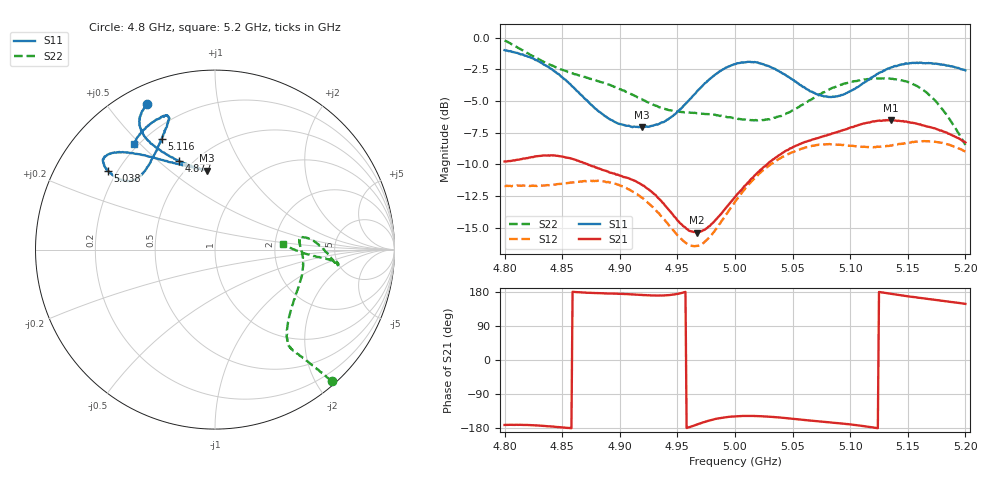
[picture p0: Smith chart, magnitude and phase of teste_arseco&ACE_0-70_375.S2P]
! Network Analyzer HP8722D
! Hewlett-Packard
! Data name: Linha & Wilkinson
! Saver's name: Rodrigo Anjos
! Comments: Teste da utilização de aquisição
! continua pelo VNA HP8722D
! Time and date: 8/5/2025 15:53
!  Frequency  S11  S21  S12  S22
# HZ  S  MA R 50
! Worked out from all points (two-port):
!   401 points, 4.8 GHz to 5.2 GHz, reference 50 ohm
!   highest |S21| = -6.49 dB at 5.135 GHz (marker M1); lowest = -15.4 dB at 4.967 GHz (marker M2)
!   |S21| within 3 dB of the highest: 4.82 GHz to 4.856 GHz (35.04 MHz wide, 0.724 % of centre); 5.035 GHz to end of sweep
!   lowest |S11| = -7.1 dB at 4.919 GHz (marker M3), VSWR 2.59, Z = 31.2 + j34.2 ohm
!   |S11| at or under -10 dB: nowhere
!   |S22| runs from -8.5 to -0.2 dB; largest |S21 - S12| = 0.84
!   S11 on the Smith chart (normalised r, x): 4.8 GHz: 0.08, +0.63; 4.877 GHz: 0.42, +0.58; 5.038 GHz: 0.17, +0.32; 5.116 GHz: 0.26, +0.60; 5.2 GHz: 0.18, +0.48
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4.8e9  0.8937 115.2  0.3248 -171.4  0.2597 -86.6  0.9764 -48.3
4.832e9  0.7974 121.5  0.3421 -173.4  0.2606 -78.3  0.8121 -50.3
4.846e9  0.7216 121.7  0.3419 -176.9  0.2643 -73.8  0.7605 -51.2
4.867e9  0.5919 116.7  0.323 178.2  0.2703 -68.6  0.7062 -52.3
4.877e9  0.5345 112.3  0.3105 177.0  0.2723 -67.7  0.684 -52.6
4.9e9  0.4566 100.0  0.2855 174.7  0.2611 -68.2  0.627 -50.5
4.919e9  0.443 95.9  0.2628 171.8  0.2337 -70.4  0.5729 -44.4
4.934e9  0.4572 100.7  0.2313 170.1  0.2027 -70.5  0.5323 -36.4
4.955e9  0.5363 115.7  0.1803 178.0  0.1577 -60.6  0.5091 -22.6
4.967e9  0.6145 123.5  0.1701 -170.1  0.1506 -47.3  0.5037 -15.5
4.98e9  0.6991 130.1  0.1844 -157.8  0.1673 -33.2  0.4981 -9.0
5e9  0.7876 137.0  0.2346 -148.8  0.2252 -22.0  0.4811 -0.5
5.019e9  0.7986 141.3  0.2916 -148.0  0.2839 -19.7  0.4715 5.6
5.038e9  0.7382 143.7  0.3435 -151.4  0.3321 -20.2  0.4896 8.1
5.067e9  0.6116 141.3  0.3963 -160.2  0.3744 -22.6  0.5733 3.1
5.088e9  0.5867 132.0  0.4235 -166.1  0.3783 -25.7  0.6414 -3.6
5.116e9  0.6828 115.7  0.4628 -176.5  0.3701 -28.8  0.6866 -7.2
5.134e9  0.7567 110.0  0.472 175.3  0.3742 -30.7  0.6901 -6.5
5.135e9  0.7628 110.0  0.4737 175.0  0.3754 -30.8  0.69 -6.4
5.16e9  0.7979 111.5  0.4548 164.0  0.3894 -37.0  0.6368 -5.0
5.178e9  0.7843 118.0  0.4299 157.1  0.3857 -42.8  0.5362 -3.3
5.2e9  0.7437 127.4  0.386 148.1  0.3553 -48.8  0.3774 4.6
